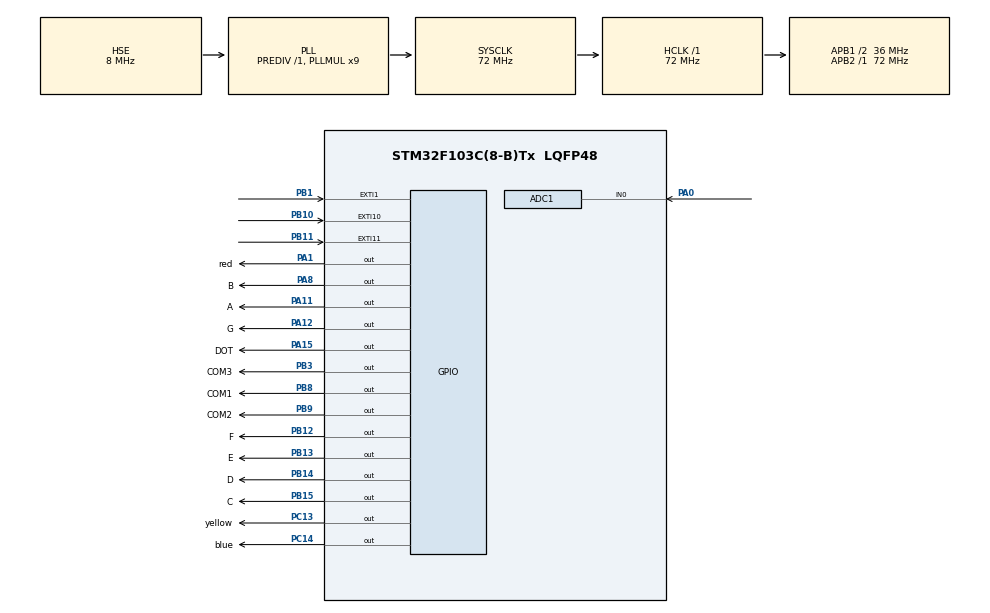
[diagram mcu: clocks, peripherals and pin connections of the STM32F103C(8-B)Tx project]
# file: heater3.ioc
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ADC1.Channel-0\#ChannelRegularConversion=ADC_CHANNEL_0
ADC1.ExternalTrigConv=ADC_EXTERNALTRIGCONV_T3_TRGO
ADC1.NbrOfConversionFlag=1
ADC1.Rank-0\#ChannelRegularConversion=1
ADC1.SamplingTime-0\#ChannelRegularConversion=ADC_SAMPLETIME_1CYCLE_5
ADC1.master=1
Dma.ADC1.0.Direction=DMA_PERIPH_TO_MEMORY
Dma.ADC1.0.Instance=DMA1_Channel1
Dma.ADC1.0.MemDataAlignment=DMA_MDATAALIGN_WORD
Dma.ADC1.0.MemInc=DMA_MINC_DISABLE
Dma.ADC1.0.Mode=DMA_CIRCULAR
Dma.ADC1.0.PeriphDataAlignment=DMA_PDATAALIGN_WORD
Dma.ADC1.0.PeriphInc=DMA_PINC_DISABLE
Dma.ADC1.0.Priority=DMA_PRIORITY_LOW
Dma.Request0=ADC1
Mcu.Family=STM32F1
Mcu.Name=STM32F103C(8-B)Tx
Mcu.Package=LQFP48
NVIC.ADC1_2_IRQn=true\:0\:0\:false\:false\:true\:true\:true\:true
NVIC.DMA1_Channel1_IRQn=true\:0\:0\:false\:false\:true\:false\:true\:true
NVIC.EXTI15_10_IRQn=true\:0\:0\:false\:false\:true\:true\:true\:true
NVIC.EXTI1_IRQn=true\:0\:0\:false\:false\:true\:true\:true\:true
NVIC.PriorityGroup=NVIC_PRIORITYGROUP_4
NVIC.TIM2_IRQn=true\:0\:0\:false\:false\:true\:true\:true\:true
NVIC.TIM3_IRQn=true\:0\:0\:false\:false\:true\:true\:true\:true
PA0-WKUP.Signal=ADCx_IN0
PA1.GPIO_Label=red
PA1.Signal=GPIO_Output
PA11.GPIO_Label=A
PA11.Signal=GPIO_Output
PA12.GPIO_Label=G
PA12.Signal=GPIO_Output
PA13.Mode=Serial_Wire
PA13.Signal=SYS_JTMS-SWDIO
PA14.Mode=Serial_Wire
PA14.Signal=SYS_JTCK-SWCLK
PA15.GPIO_Label=DOT
PA15.Signal=GPIO_Output
PA8.GPIO_Label=B
PA8.Signal=GPIO_Output
PB1.GPIO_ModeDefaultEXTI=GPIO_MODE_IT_RISING
PB1.Signal=GPXTI1
PB10.GPIO_ModeDefaultEXTI=GPIO_MODE_IT_RISING
PB10.Signal=GPXTI10
PB11.GPIO_ModeDefaultEXTI=GPIO_MODE_IT_RISING
PB11.Signal=GPXTI11
PB12.GPIO_Label=F
PB12.Signal=GPIO_Output
PB13.GPIO_Label=E
PB13.Signal=GPIO_Output
PB14.GPIO_Label=D
PB14.Signal=GPIO_Output
PB15.GPIO_Label=C
PB15.Signal=GPIO_Output
PB3.GPIO_Label=COM3
PB3.Signal=GPIO_Output
PB8.GPIO_Label=COM1
PB8.Signal=GPIO_Output
PB9.GPIO_Label=COM2
PB9.Signal=GPIO_Output
PC13-TAMPER-RTC.GPIO_Label=yellow
PC13-TAMPER-RTC.Signal=GPIO_Output
PC14-OSC32_IN.GPIO_Label=blue
PC14-OSC32_IN.Signal=GPIO_Output
PD0-OSC_IN.Mode=HSE-External-Oscillator
PD0-OSC_IN.Signal=RCC_OSC_IN
PD1-OSC_OUT.Mode=HSE-External-Oscillator
PD1-OSC_OUT.Signal=RCC_OSC_OUT
ProjectManager.HeapSize=0x200
ProjectManager.StackSize=0x400
ProjectManager.TargetToolchain=STM32CubeIDE
RCC.ADCPresc=RCC_ADCPCLK2_DIV6
RCC.AHBFreq_Value=72000000
RCC.APB1CLKDivider=RCC_HCLK_DIV2
RCC.APB1Freq_Value=36000000
RCC.APB1TimFreq_Value=72000000
RCC.APB2Freq_Value=72000000
RCC.APB2TimFreq_Value=72000000
RCC.HCLKFreq_Value=72000000
RCC.PLLMUL=RCC_PLL_MUL9
RCC.PLLSourceVirtual=RCC_PLLSOURCE_HSE
RCC.SYSCLKFreq_VALUE=72000000
RCC.SYSCLKSource=RCC_SYSCLKSOURCE_PLLCLK
RCC.USBFreq_Value=72000000
SH.ADCx_IN0.0=ADC1_IN0,IN0
TIM2.Period=100
TIM2.Prescaler=7200
TIM3.Period=1000
TIM3.Prescaler=7200
TIM3.TIM_MasterOutputTrigger=TIM_TRGO_UPDATE
VP_TIM2_VS_ClockSourceINT.Mode=Internal
VP_TIM3_VS_ClockSourceINT.Mode=Internal
board=custom

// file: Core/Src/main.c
/* USER CODE BEGIN Header */
/**
  ******************************************************************************
  * @file           : main.c
  * @brief          : Main program body
  ******************************************************************************
  * @attention
  *
  * Copyright (c) 2023 STMicroelectronics.
  * All rights reserved.
  *
  * This software is licensed under terms that can be found in the LICENSE file
  * in the root directory of this software component.
  * If no LICENSE file comes with this software, it is provided AS-IS.
  *
  ******************************************************************************
  */
/* USER CODE END Header */
#include "main.h"
#include "adc.h"
#include "dma.h"
#include "tim.h"
#include "gpio.h"
#include "SSD_Interface.h"

#include "stm32f1xx_hal.h"

/* USER CODE BEGIN PM */
#define NORMAL_MODE     1
#define TEMP_SET_MODE   2

#define MAX_TEMP 		60
#define	MIN_TEMP		35
/* USER CODE END PM */

/* USER CODE BEGIN PV */
uint32_t adc_data;

volatile uint8_t ssd_3_dig[3];
volatile uint8_t data ;
volatile uint8_t up_flag;
volatile uint8_t down_flag;
volatile uint8_t set_flag; // on off
volatile uint8_t time_out;

uint8_t MODE_STAT ;

uint8_t set_temp	= 60;

uint8_t on_of_mode = 0;
uint8_t until_flag = 0;
/* USER CODE END PV */

void SystemClock_Config(void);

void temp_control(void);

void on_of_control(void);

int main(void)
{

  /* MCU Configuration--------------------------------------------------------*/

  /* Reset of all peripherals, Initializes the Flash interface and the Systick. */
  HAL_Init();

  /* Configure the system clock */
  SystemClock_Config();

  /* Initialize all configured peripherals */
  MX_GPIO_Init();
  MX_DMA_Init();
  MX_ADC1_Init();
  MX_TIM3_Init();
  MX_TIM2_Init();
  /* USER CODE BEGIN 2 */
  // START THE TIMEER INTERUPY
  HAL_TIM_Base_Start_IT(&htim2);
  HAL_TIM_Base_Start_IT(&htim3);
  HAL_ADC_Start_DMA(&hadc1, &adc_data, 1); //cimsis
  //H_LCD_void_Init();
  // this function take data from adc and put it in adc_data
  /* USER CODE END 2 */

	HAL_NVIC_DisableIRQ(TIM2_IRQn);
  /* Infinite loop */
  while (1)
  {
	  switch (MODE_STAT)
	  {
	  case NORMAL_MODE :

		  	ssd_3_dig[0] = ( (adc_data/100) %10);
		  	ssd_3_dig[1] = ( (adc_data/10) %10);
		    ssd_3_dig[2] = (  adc_data %10);
		    temp_control();
	  break ;

	  case TEMP_SET_MODE :
		  ssd_3_dig[0] = (10);  // F
		  ssd_3_dig[1] = ( (set_temp/10) %10);
		  ssd_3_dig[2] = (  set_temp %10);
	  break ;

	  }

	  if(set_flag == 1) // set button
	  {
		  on_of_control();
		  set_flag = 0;
		  HAL_Delay(400); // for debunce
	  }

	  if(up_flag == 1) //  up button
	  {
		  if(MODE_STAT == TEMP_SET_MODE )
		  {
			if(set_temp != MAX_TEMP)
			{
				set_temp+=5 ;
			}
		  }
		  else
		  {
			  MODE_STAT = TEMP_SET_MODE;
		  }

		  time_out = 20;

		  HAL_Delay(400);
		  up_flag = 0;
	  }
	  if(down_flag == 1)// down button
	  {
		 if(MODE_STAT == TEMP_SET_MODE)
		 {
			if(set_temp != MIN_TEMP)
			{
				set_temp-=5 ;
			}
		 }
		 else
		 {

			 MODE_STAT = TEMP_SET_MODE;
		 }
		 time_out = 20;

		  HAL_Delay(400);
	  	 down_flag = 0;
	  }

	  if(time_out == 0)
	  {
		  MODE_STAT = NORMAL_MODE;
		  time_out = 0;
	  }

  }
}

void SystemClock_Config(void)
{
  RCC_OscInitTypeDef RCC_OscInitStruct = {0};
  RCC_ClkInitTypeDef RCC_ClkInitStruct = {0};
  RCC_PeriphCLKInitTypeDef PeriphClkInit = {0};

  /** Initializes the RCC Oscillators according to the specified parameters
  * in the RCC_OscInitTypeDef structure.
  */
  RCC_OscInitStruct.OscillatorType = RCC_OSCILLATORTYPE_HSE;
  RCC_OscInitStruct.HSEState = RCC_HSE_ON;
  RCC_OscInitStruct.HSEPredivValue = RCC_HSE_PREDIV_DIV1;
  RCC_OscInitStruct.HSIState = RCC_HSI_ON;
  RCC_OscInitStruct.PLL.PLLState = RCC_PLL_ON;
  RCC_OscInitStruct.PLL.PLLSource = RCC_PLLSOURCE_HSE;
  RCC_OscInitStruct.PLL.PLLMUL = RCC_PLL_MUL9;
  if (HAL_RCC_OscConfig(&RCC_OscInitStruct) != HAL_OK)
  {
    Error_Handler();
  }

  /** Initializes the CPU, AHB and APB buses clocks
  */
  RCC_ClkInitStruct.ClockType = RCC_CLOCKTYPE_HCLK|RCC_CLOCKTYPE_SYSCLK
                              |RCC_CLOCKTYPE_PCLK1|RCC_CLOCKTYPE_PCLK2;
  RCC_ClkInitStruct.SYSCLKSource = RCC_SYSCLKSOURCE_PLLCLK;
  RCC_ClkInitStruct.AHBCLKDivider = RCC_SYSCLK_DIV1;
  RCC_ClkInitStruct.APB1CLKDivider = RCC_HCLK_DIV2;
  RCC_ClkInitStruct.APB2CLKDivider = RCC_HCLK_DIV1;

  if (HAL_RCC_ClockConfig(&RCC_ClkInitStruct, FLASH_LATENCY_2) != HAL_OK)
  {
    Error_Handler();
  }
  PeriphClkInit.PeriphClockSelection = RCC_PERIPHCLK_ADC;
  PeriphClkInit.AdcClockSelection = RCC_ADCPCLK2_DIV6;
  if (HAL_RCCEx_PeriphCLKConfig(&PeriphClkInit) != HAL_OK)
  {
    Error_Handler();
  }
}

/* USER CODE BEGIN 4 */
void HAL_TIM_PeriodElapsedCallback(TIM_HandleTypeDef *htim)
{
	if(htim->Instance == TIM2) //10ms for multyplexing ssd
	{
		  switch(data)
		  {
		  case 1:

			  HAL_GPIO_WritePin(COM1_GPIO_Port, COM1_Pin, GPIO_PIN_SET);
			  HAL_GPIO_WritePin(COM3_GPIO_Port, COM3_Pin, GPIO_PIN_RESET);
			  SSD_voidDisplay( ssd_3_dig[0]);

			  break ;
		  case 2 :

			  HAL_GPIO_WritePin(COM2_GPIO_Port, COM2_Pin, GPIO_PIN_SET);
			  HAL_GPIO_WritePin(COM1_GPIO_Port, COM1_Pin, GPIO_PIN_RESET);
			  SSD_voidDisplay( ssd_3_dig[1]);
			  break ;

		  case 3 :

			  HAL_GPIO_WritePin(COM3_GPIO_Port, COM3_Pin, GPIO_PIN_SET);
			  HAL_GPIO_WritePin(COM2_GPIO_Port, COM2_Pin, GPIO_PIN_RESET);
			  SSD_voidDisplay( ssd_3_dig[2]);

			  data = 0 ;
			  break ;
		  }
	   data++ ;
	}

  if(htim->Instance == TIM3) //100ms
  {
	  if(time_out > 0)
	  {
		  time_out--;
	  }
  }

}

void HAL_GPIO_EXTI_Callback(uint16_t GPIO_Pin)
{
	if(GPIO_Pin == GPIO_PIN_11)
	{
		set_flag = 1;
	}
	if(GPIO_Pin == GPIO_PIN_10)
	{
		up_flag = 1;
	}
	if(GPIO_Pin == GPIO_PIN_1)
	{
		down_flag = 1;
	}

}

void temp_control(void)
{

	if(on_of_mode == 1)
	{
		if(adc_data <= (set_temp - 5))
		{
			HAL_GPIO_WritePin(red_GPIO_Port, red_Pin, GPIO_PIN_SET);
			HAL_GPIO_WritePin(yellow_GPIO_Port, yellow_Pin, GPIO_PIN_RESET);
			HAL_GPIO_WritePin(blue_GPIO_Port, blue_Pin, GPIO_PIN_RESET);
			until_flag = 1;
		}
		else if(adc_data >= (set_temp + 5))
		{
			HAL_GPIO_WritePin(blue_GPIO_Port, blue_Pin, GPIO_PIN_SET);
			HAL_GPIO_WritePin(yellow_GPIO_Port, yellow_Pin, GPIO_PIN_RESET);
			HAL_GPIO_WritePin(red_GPIO_Port, red_Pin, GPIO_PIN_RESET);
			until_flag = 1;
		}
		else if(until_flag == 0)
		{
			HAL_GPIO_WritePin(yellow_GPIO_Port, yellow_Pin, GPIO_PIN_SET);
			HAL_GPIO_WritePin(red_GPIO_Port, red_Pin, GPIO_PIN_RESET);
			HAL_GPIO_WritePin(blue_GPIO_Port, blue_Pin, GPIO_PIN_RESET);

		}
		else if(adc_data == set_temp)
		{
			until_flag = 0;
		}
	}
}

void on_of_control(void)
{

	if(on_of_mode == 1)
	{
		ssd_3_dig[0] = (11);
		ssd_3_dig[1] = (11);
		ssd_3_dig[2] = (11);
		HAL_Delay(400);
		HAL_NVIC_DisableIRQ(TIM2_IRQn);
		HAL_GPIO_WritePin(red_GPIO_Port, red_Pin, GPIO_PIN_RESET);
		HAL_GPIO_WritePin(blue_GPIO_Port, blue_Pin, GPIO_PIN_RESET);
		HAL_GPIO_WritePin(yellow_GPIO_Port, yellow_Pin, GPIO_PIN_RESET);

		on_of_mode = 0;
	}
	else
	{
		on_of_mode = 1;
		HAL_NVIC_EnableIRQ(TIM2_IRQn);
	}

}

/* USER CODE END 4 */

void Error_Handler(void)
{
  __disable_irq();
  while (1)
  {
  }
}
